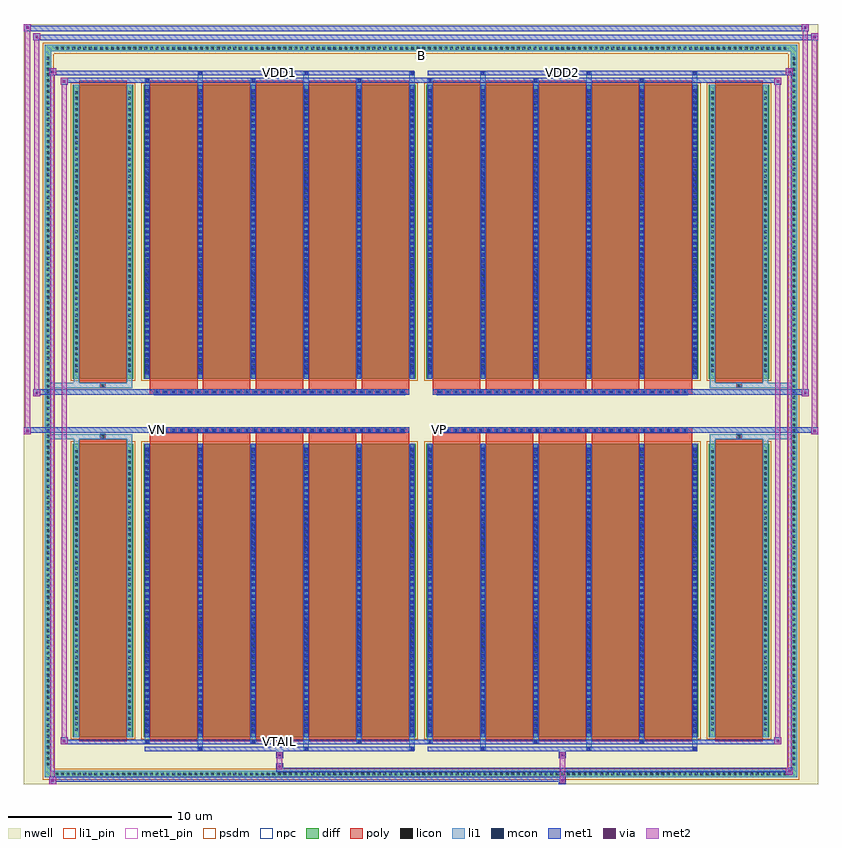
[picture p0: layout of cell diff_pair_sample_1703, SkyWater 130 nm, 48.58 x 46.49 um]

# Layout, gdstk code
import gdstk
lib = gdstk.Library(unit=1e-6, precision=5e-09)
def R(c, l, rs):  # rectangles x0, y0, x1, y1
    for r in rs: c.add(gdstk.rectangle(r[:2], r[2:], *l))
def A(c, l, x, y, w, h, nx, ny, dx, dy):  # array of equal rectangles
    R(c, l, [(x+i*dx, y+j*dy, x+i*dx+w, y+j*dy+h) for i in range(nx) for j in range(ny)])
def P(c, l, *ps):  # polygons
    for p in ps: c.add(gdstk.Polygon(p, *l))
nwell = (64, 20)
diff = (65, 20)
poly = (66, 20)
licon = (66, 44)
li1_pin = (67, 16)
li1 = (67, 20)
mcon = (67, 44)
met1_pin = (68, 16)
met1 = (68, 20)
via = (68, 44)
met2 = (69, 20)
psdm = (94, 20)
npc = (95, 20)

diff_pair_sample_1703 = lib.new_cell('diff_pair_sample_1703')
R(diff_pair_sample_1703, nwell, [(-24.29,-22.81,24.29,23.68), (-21.61,-21,-0.01,-0.8), (0.01,-21,21.61,-0.8), (-21.61,0.8,-0.01,21), (0.01,0.8,21.61,21)])
A(diff_pair_sample_1703, diff, -22.475, -22.41, 0.41, 0.41, 132, 2, 0.34, 44.41)
A(diff_pair_sample_1703, diff, -23.02, -21.795, 0.41, 0.41, 1, 128, 0, 0.34)
A(diff_pair_sample_1703, diff, 22.61, -21.795, 0.41, 0.41, 1, 128, 0, 0.34)
R(diff_pair_sample_1703, diff, [(-22.475,-22.41,22.475,-22), (-23.02,-21.795,-22.61,21.795), (22.61,-21.795,23.02,21.795), (-21.3,-19.955,-17.61,-1.985), (-16.97,-19.955,-0.32,-1.985), (0.32,-19.955,16.97,-1.985), (17.61,-19.955,21.3,-1.985), (-21.3,1.985,-17.61,19.955), (-16.97,1.985,-0.32,19.955), (0.32,1.985,16.97,19.955), (17.61,1.985,21.3,19.955), (-22.475,22,22.475,22.41)])
P(diff_pair_sample_1703, diff, [(23.02,22.41),(-23.02,22.41),(-23.02,-22),(-22.61,-22),(-22.61,22),(22.61,22),(22.61,-22),(-22.61,-22),(-23.02,-22),(-23.02,-22.41),(23.02,-22.41)])
A(diff_pair_sample_1703, poly, -16.58, -20.205, 2.91, 18.47, 5, 2, 3.24, 21.94)
A(diff_pair_sample_1703, poly, 0.71, -20.205, 2.91, 18.47, 5, 2, 3.24, 21.94)
A(diff_pair_sample_1703, poly, -16.58, -1.735, 2.91, 0.405, 5, 2, 3.24, 3.065)
A(diff_pair_sample_1703, poly, 0.71, -1.735, 2.91, 0.405, 5, 2, 3.24, 3.065)
A(diff_pair_sample_1703, poly, -16.31, -1.33, 0.33, 0.33, 31, 2, 0.5, 2.33)
A(diff_pair_sample_1703, poly, 0.98, -1.33, 0.33, 0.33, 31, 2, 0.5, 2.33)
R(diff_pair_sample_1703, poly, [(-20.91,-20.205,-18,-1.735), (18,-20.205,20.91,-1.735), (-19.62,-1.735,-19.29,-1.405), (-19.62,-1.735,-19.29,-1.405), (19.29,-1.735,19.62,-1.405), (19.29,-1.735,19.62,-1.405), (-16.58,-1.33,-0.71,-1), (0.71,-1.33,16.58,-1), (-16.58,1,-0.71,1.33), (0.71,1,16.58,1.33), (-19.62,1.405,-19.29,1.735), (-19.62,1.405,-19.29,1.735), (19.29,1.405,19.62,1.735), (19.29,1.405,19.62,1.735), (-20.91,1.735,-18,20.205), (18,1.735,20.91,20.205)])
A(diff_pair_sample_1703, licon, -22.355, -22.29, 0.17, 0.17, 132, 2, 0.34, 44.41)
A(diff_pair_sample_1703, licon, -22.9, -21.675, 0.17, 0.17, 1, 128, 0, 0.34)
A(diff_pair_sample_1703, licon, 22.73, -21.675, 0.17, 0.17, 1, 128, 0, 0.34)
A(diff_pair_sample_1703, licon, -21.16, -19.555, 0.17, 0.17, 1, 51, 0, 0.34)
A(diff_pair_sample_1703, licon, -17.92, -19.555, 0.17, 0.17, 1, 51, 0, 0.34)
A(diff_pair_sample_1703, licon, -16.83, -19.555, 0.17, 0.17, 6, 51, 3.24, 0.34)
A(diff_pair_sample_1703, licon, 0.46, -19.555, 0.17, 0.17, 6, 51, 3.24, 0.34)
A(diff_pair_sample_1703, licon, 17.75, -19.555, 0.17, 0.17, 1, 51, 0, 0.34)
A(diff_pair_sample_1703, licon, 20.99, -19.555, 0.17, 0.17, 1, 51, 0, 0.34)
A(diff_pair_sample_1703, licon, -16.23, -1.25, 0.17, 0.17, 31, 2, 0.5, 2.33)
A(diff_pair_sample_1703, licon, 1.06, -1.25, 0.17, 0.17, 31, 2, 0.5, 2.33)
A(diff_pair_sample_1703, licon, -21.16, 2.385, 0.17, 0.17, 1, 51, 0, 0.34)
A(diff_pair_sample_1703, licon, -17.92, 2.385, 0.17, 0.17, 1, 51, 0, 0.34)
A(diff_pair_sample_1703, licon, -16.83, 2.385, 0.17, 0.17, 6, 51, 3.24, 0.34)
A(diff_pair_sample_1703, licon, 0.46, 2.385, 0.17, 0.17, 6, 51, 3.24, 0.34)
A(diff_pair_sample_1703, licon, 17.75, 2.385, 0.17, 0.17, 1, 51, 0, 0.34)
A(diff_pair_sample_1703, licon, 20.99, 2.385, 0.17, 0.17, 1, 51, 0, 0.34)
R(diff_pair_sample_1703, licon, [(-19.54,-1.655,-19.37,-1.485), (19.37,-1.655,19.54,-1.485), (-19.54,1.485,-19.37,1.655), (19.37,1.485,19.54,1.655)])
R(diff_pair_sample_1703, li1_pin, [(-0.25,21.5,0.25,22)])
A(diff_pair_sample_1703, li1, -22.435, -22.37, 0.33, 0.33, 132, 2, 0.34, 44.41)
A(diff_pair_sample_1703, li1, -22.98, -21.755, 0.33, 0.33, 1, 128, 0, 0.34)
A(diff_pair_sample_1703, li1, 22.65, -21.755, 0.33, 0.33, 1, 128, 0, 0.34)
A(diff_pair_sample_1703, li1, -13.67, -20.76, 0.33, 0.805, 3, 2, 6.48, 40.715)
A(diff_pair_sample_1703, li1, -13.59, -20.76, 0.17, 0.17, 3, 2, 6.48, 41.35)
A(diff_pair_sample_1703, li1, 3.62, -20.76, 0.33, 0.805, 3, 2, 6.48, 40.715)
A(diff_pair_sample_1703, li1, 3.7, -20.76, 0.17, 0.17, 3, 2, 6.48, 41.35)
A(diff_pair_sample_1703, li1, -16.91, -20.33, 0.33, 0.375, 3, 2, 6.48, 40.285)
A(diff_pair_sample_1703, li1, -16.83, -20.33, 0.17, 0.17, 3, 2, 6.48, 40.49)
A(diff_pair_sample_1703, li1, 0.38, -20.33, 0.33, 0.375, 3, 2, 6.48, 40.285)
A(diff_pair_sample_1703, li1, 0.46, -20.33, 0.17, 0.17, 3, 2, 6.48, 40.49)
A(diff_pair_sample_1703, li1, -16.91, -19.955, 0.33, 17.97, 6, 2, 3.24, 21.94)
A(diff_pair_sample_1703, li1, 0.38, -19.955, 0.33, 17.97, 6, 2, 3.24, 21.94)
A(diff_pair_sample_1703, li1, -16.83, -19.695, 0.17, 0.17, 6, 49, 3.24, 0.36)
A(diff_pair_sample_1703, li1, -16.83, -19.695, 0.17, 17.45, 6, 2, 3.24, 21.94)
A(diff_pair_sample_1703, li1, 0.46, -19.695, 0.17, 0.17, 6, 49, 3.24, 0.36)
A(diff_pair_sample_1703, li1, 0.46, -19.695, 0.17, 17.45, 6, 2, 3.24, 21.94)
A(diff_pair_sample_1703, li1, -21.24, -19.635, 0.33, 0.33, 1, 51, 0, 0.34)
A(diff_pair_sample_1703, li1, -18, -19.635, 0.33, 0.33, 1, 51, 0, 0.34)
A(diff_pair_sample_1703, li1, -16.91, -19.635, 0.33, 0.33, 6, 51, 3.24, 0.34)
A(diff_pair_sample_1703, li1, 0.38, -19.635, 0.33, 0.33, 6, 51, 3.24, 0.34)
A(diff_pair_sample_1703, li1, 17.67, -19.635, 0.33, 0.33, 1, 51, 0, 0.34)
A(diff_pair_sample_1703, li1, 20.91, -19.635, 0.33, 0.33, 1, 51, 0, 0.34)
A(diff_pair_sample_1703, li1, -16.31, -1.33, 0.33, 0.33, 31, 2, 0.5, 2.33)
A(diff_pair_sample_1703, li1, 0.98, -1.33, 0.33, 0.33, 31, 2, 0.5, 2.33)
A(diff_pair_sample_1703, li1, -16.83, 2.245, 0.17, 0.17, 6, 49, 3.24, 0.36)
A(diff_pair_sample_1703, li1, 0.46, 2.245, 0.17, 0.17, 6, 49, 3.24, 0.36)
A(diff_pair_sample_1703, li1, -21.24, 2.305, 0.33, 0.33, 1, 51, 0, 0.34)
A(diff_pair_sample_1703, li1, -18, 2.305, 0.33, 0.33, 1, 51, 0, 0.34)
A(diff_pair_sample_1703, li1, -16.91, 2.305, 0.33, 0.33, 6, 51, 3.24, 0.34)
A(diff_pair_sample_1703, li1, 0.38, 2.305, 0.33, 0.33, 6, 51, 3.24, 0.34)
A(diff_pair_sample_1703, li1, 17.67, 2.305, 0.33, 0.33, 1, 51, 0, 0.34)
A(diff_pair_sample_1703, li1, 20.91, 2.305, 0.33, 0.33, 1, 51, 0, 0.34)
R(diff_pair_sample_1703, li1, [(-23.02,-22.41,-22.61,-22), (-23.02,-22.41,-22.61,-22), (-22.61,-22.41,22.61,-22), (22.61,-22.41,23.02,-22), (22.61,-22.41,23.02,-22), (-23.02,-22,-22.61,22), (22.61,-22,23.02,22), (-21.24,-19.955,-20.91,-1.985), (-18,-19.955,-17.67,-1.985), (17.67,-19.955,18,-1.985), (20.91,-19.955,21.24,-1.985), (-21.24,-1.985,-20.91,-1.405), (-18,-1.985,-17.67,-1.405), (17.67,-1.985,18,-1.405), (20.91,-1.985,21.24,-1.405), (-23.02,-1.735,-19.62,-1.405), (-21.24,-1.735,-19.62,-1.405), (-19.62,-1.735,-19.29,-1.405), (-19.29,-1.735,-17.67,-1.405), (17.67,-1.735,19.29,-1.405), (19.29,-1.735,19.62,-1.405), (19.29,-1.735,23.02,-1.405), (19.62,-1.735,21.24,-1.405), (-23.02,1.405,-19.62,1.735), (-21.24,1.405,-19.62,1.735), (-21.24,1.405,-20.91,1.985), (-19.62,1.405,-19.29,1.735), (-19.29,1.405,-17.67,1.735), (-18,1.405,-17.67,1.985), (17.67,1.405,19.29,1.735), (17.67,1.405,18,1.985), (19.29,1.405,19.62,1.735), (19.29,1.405,23.02,1.735), (19.62,1.405,21.24,1.735), (20.91,1.405,21.24,1.985), (-21.24,1.985,-20.91,19.955), (-18,1.985,-17.67,19.955), (17.67,1.985,18,19.955), (20.91,1.985,21.24,19.955), (-23.02,22,-22.61,22.41), (-23.02,22,-22.61,22.41), (-22.61,22,22.61,22.41), (22.61,22,23.02,22.41), (22.61,22,23.02,22.41)])
A(diff_pair_sample_1703, mcon, -13.59, -20.76, 0.17, 0.17, 3, 2, 6.48, 41.35)
A(diff_pair_sample_1703, mcon, 3.7, -20.76, 0.17, 0.17, 3, 2, 6.48, 41.35)
A(diff_pair_sample_1703, mcon, -16.83, -20.33, 0.17, 0.17, 3, 2, 6.48, 40.49)
A(diff_pair_sample_1703, mcon, 0.46, -20.33, 0.17, 0.17, 3, 2, 6.48, 40.49)
A(diff_pair_sample_1703, mcon, -16.83, -19.695, 0.17, 0.17, 6, 49, 3.24, 0.36)
A(diff_pair_sample_1703, mcon, 0.46, -19.695, 0.17, 0.17, 6, 49, 3.24, 0.36)
A(diff_pair_sample_1703, mcon, -16.23, -1.25, 0.17, 0.17, 31, 2, 0.5, 2.33)
A(diff_pair_sample_1703, mcon, 1.06, -1.25, 0.17, 0.17, 31, 2, 0.5, 2.33)
A(diff_pair_sample_1703, mcon, -16.83, 2.245, 0.17, 0.17, 6, 49, 3.24, 0.36)
A(diff_pair_sample_1703, mcon, 0.46, 2.245, 0.17, 0.17, 6, 49, 3.24, 0.36)
R(diff_pair_sample_1703, met1_pin, [(-8.78,-20.37,-8.51,-20.1), (-16.28,-1.29,-16.01,-1.02), (1.01,-1.29,1.28,-1.02), (-8.78,20.55,-8.51,20.82), (8.51,20.55,8.78,20.82)])
A(diff_pair_sample_1703, met1, -13.65, -20.82, 0.29, 0.29, 3, 2, 6.48, 41.35)
A(diff_pair_sample_1703, met1, 3.64, -20.82, 0.29, 0.29, 3, 2, 6.48, 41.35)
A(diff_pair_sample_1703, met1, -16.89, -20.39, 0.29, 0.29, 3, 2, 6.48, 40.49)
A(diff_pair_sample_1703, met1, 0.4, -20.39, 0.29, 0.29, 3, 2, 6.48, 40.49)
A(diff_pair_sample_1703, met1, -16.89, -19.955, 0.29, 17.97, 6, 2, 3.24, 21.94)
A(diff_pair_sample_1703, met1, 0.4, -19.955, 0.29, 17.97, 6, 2, 3.24, 21.94)
A(diff_pair_sample_1703, met1, -16.89, -19.755, 0.29, 0.29, 6, 49, 3.24, 0.36)
A(diff_pair_sample_1703, met1, 0.4, -19.755, 0.29, 0.29, 6, 49, 3.24, 0.36)
A(diff_pair_sample_1703, met1, -16.29, -1.31, 0.29, 0.29, 31, 2, 0.5, 2.33)
A(diff_pair_sample_1703, met1, 1, -1.31, 0.29, 0.29, 31, 2, 0.5, 2.33)
A(diff_pair_sample_1703, met1, -16.89, 2.185, 0.29, 0.29, 6, 49, 3.24, 0.36)
A(diff_pair_sample_1703, met1, 0.4, 2.185, 0.29, 0.29, 6, 49, 3.24, 0.36)
R(diff_pair_sample_1703, met1, [(-22.75,-22.81,-22.32,-22.38), (8.43,-22.81,8.86,-22.38), (-22.75,-22.67,8.86,-22.38), (22.32,-22.24,22.75,-21.81), (-8.86,-22.1,22.75,-21.81), (-8.86,-21.96,-8.43,-21.53), (-8.86,-21.25,-8.43,-20.82), (8.43,-21.25,8.86,-20.82), (-16.89,-20.82,-0.4,-20.53), (0.4,-20.82,16.89,-20.53), (-22.04,-20.39,-21.61,-19.96), (-22.04,-20.39,-16.89,-20.1), (-16.89,-20.39,-0.4,-20.1), (-0.4,-20.39,0.4,-20.1), (0.4,-20.39,16.89,-20.1), (16.89,-20.39,22.04,-20.1), (21.61,-20.39,22.04,-19.96), (-24.29,-1.43,-23.86,-1), (23.86,-1.43,24.29,-1), (-24.29,-1.33,-0.71,-1), (-16.58,-1.33,-0.71,-1), (0.71,-1.33,16.58,-1), (0.71,-1.33,24.29,-1), (-23.72,0.9,-23.29,1.33), (23.29,0.9,23.72,1.33), (-23.72,1,-16.58,1.33), (-16.58,1,-0.71,1.33), (0.71,1,16.58,1.33), (16.58,1,23.72,1.33), (-22.04,19.96,-21.61,20.39), (21.61,19.96,22.04,20.39), (-22.04,20.1,-16.89,20.39), (-16.89,20.1,-0.4,20.39), (-0.4,20.1,0.4,20.39), (0.4,20.1,16.89,20.39), (16.89,20.1,22.04,20.39), (-22.75,20.53,-22.32,20.96), (-22.75,20.53,-16.89,20.82), (-16.89,20.53,-0.4,20.82), (0.4,20.53,16.89,20.82), (16.89,20.53,22.75,20.82), (22.32,20.53,22.75,20.96), (-23.72,22.68,-23.29,23.11), (-23.72,22.68,-21.61,23.01), (-21.61,22.68,21.61,23.01), (21.61,22.68,24.29,23.01), (23.86,22.68,24.29,23.11), (-24.29,23.25,-23.86,23.68), (-24.29,23.25,-21.61,23.58), (-21.61,23.25,21.61,23.58), (21.61,23.25,23.72,23.58), (23.29,23.25,23.72,23.68)])
R(diff_pair_sample_1703, via, [(-22.61,-22.67,-22.46,-22.52), (8.57,-22.67,8.72,-22.52), (22.46,-22.1,22.61,-21.95), (-8.72,-21.82,-8.57,-21.67), (-8.72,-21.11,-8.57,-20.96), (8.57,-21.11,8.72,-20.96), (-21.9,-20.25,-21.75,-20.1), (21.75,-20.25,21.9,-20.1), (-24.15,-1.29,-24,-1.14), (24,-1.29,24.15,-1.14), (-23.58,1.04,-23.43,1.19), (23.43,1.04,23.58,1.19), (-21.9,20.1,-21.75,20.25), (21.75,20.1,21.9,20.25), (-22.61,20.67,-22.46,20.82), (22.46,20.67,22.61,20.82), (-23.58,22.82,-23.43,22.97), (24,22.82,24.15,22.97), (-24.15,23.39,-24,23.54), (23.43,23.39,23.58,23.54)])
R(diff_pair_sample_1703, met2, [(-22.75,-22.81,-22.32,-22.38), (-22.68,-22.81,-22.39,20.96), (-22.39,-22.81,-22.32,-22.38), (-22.7,-22.76,-22.37,-22.43), (8.48,-22.76,8.81,-22.43), (8.48,-22.43,8.81,-21.2), (22.32,-22.24,22.75,-21.81), (22.39,-22.24,22.68,20.96), (22.68,-22.24,22.75,-21.81), (22.37,-22.19,22.7,-21.86), (-8.81,-21.91,-8.48,-21.58), (-8.81,-21.58,-8.48,-21.2), (-8.81,-21.2,-8.48,-20.87), (8.48,-21.2,8.81,-20.87), (-22.04,-20.39,-21.61,-19.96), (-21.97,-20.39,-21.68,20.39), (-21.68,-20.39,-21.61,-19.96), (21.61,-20.39,22.04,-19.96), (21.68,-20.39,21.97,20.39), (21.97,-20.39,22.04,-19.96), (-21.99,-20.34,-21.66,-20.01), (21.66,-20.34,21.99,-20.01), (-24.29,-1.43,-23.86,-1), (-24.24,-1.43,-23.91,23.68), (-23.91,-1.43,-23.86,-1), (23.86,-1.43,24.29,-1), (23.91,-1.43,24.24,23.11), (24.24,-1.43,24.29,-1), (-24.24,-1.38,-23.91,-1.05), (23.91,-1.38,24.24,-1.05), (-23.72,0.9,-23.29,1.33), (-23.67,0.9,-23.34,23.11), (-23.34,0.9,-23.29,1.33), (23.29,0.9,23.72,1.33), (23.34,0.9,23.67,23.68), (23.67,0.9,23.72,1.33), (-23.67,0.95,-23.34,1.28), (23.34,0.95,23.67,1.28), (-22.04,19.96,-21.61,20.39), (-21.68,19.96,-21.61,20.39), (21.61,19.96,22.04,20.39), (21.97,19.96,22.04,20.39), (-21.99,20.01,-21.66,20.34), (21.66,20.01,21.99,20.34), (-22.75,20.53,-22.32,20.96), (-22.39,20.53,-22.32,20.96), (22.32,20.53,22.75,20.96), (22.68,20.53,22.75,20.96), (-22.7,20.58,-22.37,20.91), (22.37,20.58,22.7,20.91), (-23.72,22.68,-23.29,23.11), (-23.34,22.68,-23.29,23.11), (23.86,22.68,24.29,23.11), (24.24,22.68,24.29,23.11), (-23.67,22.73,-23.34,23.06), (23.91,22.73,24.24,23.06), (-24.29,23.25,-23.86,23.68), (-23.91,23.25,-23.86,23.68), (23.29,23.25,23.72,23.68), (23.67,23.25,23.72,23.68), (-24.24,23.3,-23.91,23.63), (23.34,23.3,23.67,23.63)])
R(diff_pair_sample_1703, psdm, [(-21.43,-20.085,-17.48,-1.855), (-17.1,-20.085,-0.19,-1.855), (0.19,-20.085,17.1,-1.855), (17.48,-20.085,21.43,-1.855), (-21.43,1.855,-17.48,20.085), (-17.1,1.855,-0.19,20.085), (0.19,1.855,17.1,20.085), (17.48,1.855,21.43,20.085)])
P(diff_pair_sample_1703, psdm, [(23.15,22.54),(-23.15,22.54),(-23.15,-21.87),(-22.48,-21.87),(-22.48,21.87),(22.48,21.87),(22.48,-21.87),(-22.48,-21.87),(-23.15,-21.87),(-23.15,-22.54),(23.15,-22.54)])
A(diff_pair_sample_1703, npc, -16.33, -1.35, 0.37, 0.37, 31, 2, 0.5, 2.33)
A(diff_pair_sample_1703, npc, 0.96, -1.35, 0.37, 0.37, 31, 2, 0.5, 2.33)
R(diff_pair_sample_1703, npc, [(-19.64,-1.755,-19.27,-1.385), (19.27,-1.755,19.64,-1.385), (-16.33,-1.35,-15.46,-0.98), (-16.33,-1.35,-15.46,-0.98), (-15.83,-1.35,-14.96,-0.98), (-15.83,-1.35,-14.96,-0.98), (-15.33,-1.35,-14.46,-0.98), (-15.33,-1.35,-14.46,-0.98), (-14.83,-1.35,-13.96,-0.98), (-14.83,-1.35,-13.96,-0.98), (-14.33,-1.35,-13.46,-0.98), (-14.33,-1.35,-13.46,-0.98), (-13.83,-1.35,-12.96,-0.98), (-13.83,-1.35,-12.96,-0.98), (-13.33,-1.35,-12.46,-0.98), (-13.33,-1.35,-12.46,-0.98), (-12.83,-1.35,-11.96,-0.98), (-12.83,-1.35,-11.96,-0.98), (-12.33,-1.35,-11.46,-0.98), (-12.33,-1.35,-11.46,-0.98), (-11.83,-1.35,-10.96,-0.98), (-11.83,-1.35,-10.96,-0.98), (-11.33,-1.35,-10.46,-0.98), (-11.33,-1.35,-10.46,-0.98), (-10.83,-1.35,-9.96,-0.98), (-10.83,-1.35,-9.96,-0.98), (-10.33,-1.35,-9.46,-0.98), (-10.33,-1.35,-9.46,-0.98), (-9.83,-1.35,-8.96,-0.98), (-9.83,-1.35,-8.96,-0.98), (-9.33,-1.35,-8.46,-0.98), (-9.33,-1.35,-8.46,-0.98), (-8.83,-1.35,-7.96,-0.98), (-8.83,-1.35,-7.96,-0.98), (-8.33,-1.35,-7.46,-0.98), (-8.33,-1.35,-7.46,-0.98), (-7.83,-1.35,-6.96,-0.98), (-7.83,-1.35,-6.96,-0.98), (-7.33,-1.35,-6.46,-0.98), (-7.33,-1.35,-6.46,-0.98), (-6.83,-1.35,-5.96,-0.98), (-6.83,-1.35,-5.96,-0.98), (-6.33,-1.35,-5.46,-0.98), (-6.33,-1.35,-5.46,-0.98), (-5.83,-1.35,-4.96,-0.98), (-5.83,-1.35,-4.96,-0.98), (-5.33,-1.35,-4.46,-0.98), (-5.33,-1.35,-4.46,-0.98), (-4.83,-1.35,-3.96,-0.98), (-4.83,-1.35,-3.96,-0.98), (-4.33,-1.35,-3.46,-0.98), (-4.33,-1.35,-3.46,-0.98), (-3.83,-1.35,-2.96,-0.98), (-3.83,-1.35,-2.96,-0.98), (-3.33,-1.35,-2.46,-0.98), (-3.33,-1.35,-2.46,-0.98), (-2.83,-1.35,-1.96,-0.98), (-2.83,-1.35,-1.96,-0.98), (-2.33,-1.35,-1.46,-0.98), (-2.33,-1.35,-1.46,-0.98), (-1.83,-1.35,-0.96,-0.98), (-1.83,-1.35,-0.96,-0.98), (0.96,-1.35,1.83,-0.98), (0.96,-1.35,1.83,-0.98), (1.46,-1.35,2.33,-0.98), (1.46,-1.35,2.33,-0.98), (1.96,-1.35,2.83,-0.98), (1.96,-1.35,2.83,-0.98), (2.46,-1.35,3.33,-0.98), (2.46,-1.35,3.33,-0.98), (2.96,-1.35,3.83,-0.98), (2.96,-1.35,3.83,-0.98), (3.46,-1.35,4.33,-0.98), (3.46,-1.35,4.33,-0.98), (3.96,-1.35,4.83,-0.98), (3.96,-1.35,4.83,-0.98), (4.46,-1.35,5.33,-0.98), (4.46,-1.35,5.33,-0.98), (4.96,-1.35,5.83,-0.98), (4.96,-1.35,5.83,-0.98), (5.46,-1.35,6.33,-0.98), (5.46,-1.35,6.33,-0.98), (5.96,-1.35,6.83,-0.98), (5.96,-1.35,6.83,-0.98), (6.46,-1.35,7.33,-0.98), (6.46,-1.35,7.33,-0.98), (6.96,-1.35,7.83,-0.98), (6.96,-1.35,7.83,-0.98), (7.46,-1.35,8.33,-0.98), (7.46,-1.35,8.33,-0.98), (7.96,-1.35,8.83,-0.98), (7.96,-1.35,8.83,-0.98), (8.46,-1.35,9.33,-0.98), (8.46,-1.35,9.33,-0.98), (8.96,-1.35,9.83,-0.98), (8.96,-1.35,9.83,-0.98), (9.46,-1.35,10.33,-0.98), (9.46,-1.35,10.33,-0.98), (9.96,-1.35,10.83,-0.98), (9.96,-1.35,10.83,-0.98), (10.46,-1.35,11.33,-0.98), (10.46,-1.35,11.33,-0.98), (10.96,-1.35,11.83,-0.98), (10.96,-1.35,11.83,-0.98), (11.46,-1.35,12.33,-0.98), (11.46,-1.35,12.33,-0.98), (11.96,-1.35,12.83,-0.98), (11.96,-1.35,12.83,-0.98), (12.46,-1.35,13.33,-0.98), (12.46,-1.35,13.33,-0.98), (12.96,-1.35,13.83,-0.98), (12.96,-1.35,13.83,-0.98), (13.46,-1.35,14.33,-0.98), (13.46,-1.35,14.33,-0.98), (13.96,-1.35,14.83,-0.98), (13.96,-1.35,14.83,-0.98), (14.46,-1.35,15.33,-0.98), (14.46,-1.35,15.33,-0.98), (14.96,-1.35,15.83,-0.98), (14.96,-1.35,15.83,-0.98), (15.46,-1.35,16.33,-0.98), (15.46,-1.35,16.33,-0.98), (-16.33,0.98,-15.46,1.35), (-16.33,0.98,-15.46,1.35), (-15.83,0.98,-14.96,1.35), (-15.83,0.98,-14.96,1.35), (-15.33,0.98,-14.46,1.35), (-15.33,0.98,-14.46,1.35), (-14.83,0.98,-13.96,1.35), (-14.83,0.98,-13.96,1.35), (-14.33,0.98,-13.46,1.35), (-14.33,0.98,-13.46,1.35), (-13.83,0.98,-12.96,1.35), (-13.83,0.98,-12.96,1.35), (-13.33,0.98,-12.46,1.35), (-13.33,0.98,-12.46,1.35), (-12.83,0.98,-11.96,1.35), (-12.83,0.98,-11.96,1.35), (-12.33,0.98,-11.46,1.35), (-12.33,0.98,-11.46,1.35), (-11.83,0.98,-10.96,1.35), (-11.83,0.98,-10.96,1.35), (-11.33,0.98,-10.46,1.35), (-11.33,0.98,-10.46,1.35), (-10.83,0.98,-9.96,1.35), (-10.83,0.98,-9.96,1.35), (-10.33,0.98,-9.46,1.35), (-10.33,0.98,-9.46,1.35), (-9.83,0.98,-8.96,1.35), (-9.83,0.98,-8.96,1.35), (-9.33,0.98,-8.46,1.35), (-9.33,0.98,-8.46,1.35), (-8.83,0.98,-7.96,1.35), (-8.83,0.98,-7.96,1.35), (-8.33,0.98,-7.46,1.35), (-8.33,0.98,-7.46,1.35), (-7.83,0.98,-6.96,1.35), (-7.83,0.98,-6.96,1.35), (-7.33,0.98,-6.46,1.35), (-7.33,0.98,-6.46,1.35), (-6.83,0.98,-5.96,1.35), (-6.83,0.98,-5.96,1.35), (-6.33,0.98,-5.46,1.35), (-6.33,0.98,-5.46,1.35), (-5.83,0.98,-4.96,1.35), (-5.83,0.98,-4.96,1.35), (-5.33,0.98,-4.46,1.35), (-5.33,0.98,-4.46,1.35), (-4.83,0.98,-3.96,1.35), (-4.83,0.98,-3.96,1.35), (-4.33,0.98,-3.46,1.35), (-4.33,0.98,-3.46,1.35), (-3.83,0.98,-2.96,1.35), (-3.83,0.98,-2.96,1.35), (-3.33,0.98,-2.46,1.35), (-3.33,0.98,-2.46,1.35), (-2.83,0.98,-1.96,1.35), (-2.83,0.98,-1.96,1.35), (-2.33,0.98,-1.46,1.35), (-2.33,0.98,-1.46,1.35), (-1.83,0.98,-0.96,1.35), (-1.83,0.98,-0.96,1.35), (0.96,0.98,1.83,1.35), (0.96,0.98,1.83,1.35), (1.46,0.98,2.33,1.35), (1.46,0.98,2.33,1.35), (1.96,0.98,2.83,1.35), (1.96,0.98,2.83,1.35), (2.46,0.98,3.33,1.35), (2.46,0.98,3.33,1.35), (2.96,0.98,3.83,1.35), (2.96,0.98,3.83,1.35), (3.46,0.98,4.33,1.35), (3.46,0.98,4.33,1.35), (3.96,0.98,4.83,1.35), (3.96,0.98,4.83,1.35), (4.46,0.98,5.33,1.35), (4.46,0.98,5.33,1.35), (4.96,0.98,5.83,1.35), (4.96,0.98,5.83,1.35), (5.46,0.98,6.33,1.35), (5.46,0.98,6.33,1.35), (5.96,0.98,6.83,1.35), (5.96,0.98,6.83,1.35), (6.46,0.98,7.33,1.35), (6.46,0.98,7.33,1.35), (6.96,0.98,7.83,1.35), (6.96,0.98,7.83,1.35), (7.46,0.98,8.33,1.35), (7.46,0.98,8.33,1.35), (7.96,0.98,8.83,1.35), (7.96,0.98,8.83,1.35), (8.46,0.98,9.33,1.35), (8.46,0.98,9.33,1.35), (8.96,0.98,9.83,1.35), (8.96,0.98,9.83,1.35), (9.46,0.98,10.33,1.35), (9.46,0.98,10.33,1.35), (9.96,0.98,10.83,1.35), (9.96,0.98,10.83,1.35), (10.46,0.98,11.33,1.35), (10.46,0.98,11.33,1.35), (10.96,0.98,11.83,1.35), (10.96,0.98,11.83,1.35), (11.46,0.98,12.33,1.35), (11.46,0.98,12.33,1.35), (11.96,0.98,12.83,1.35), (11.96,0.98,12.83,1.35), (12.46,0.98,13.33,1.35), (12.46,0.98,13.33,1.35), (12.96,0.98,13.83,1.35), (12.96,0.98,13.83,1.35), (13.46,0.98,14.33,1.35), (13.46,0.98,14.33,1.35), (13.96,0.98,14.83,1.35), (13.96,0.98,14.83,1.35), (14.46,0.98,15.33,1.35), (14.46,0.98,15.33,1.35), (14.96,0.98,15.83,1.35), (14.96,0.98,15.83,1.35), (15.46,0.98,16.33,1.35), (15.46,0.98,16.33,1.35), (-19.64,1.385,-19.27,1.755), (19.27,1.385,19.64,1.755)])
diff_pair_sample_1703.add(gdstk.Label('VTAIL', (-8.645,-20.235), layer=68, texttype=5))
diff_pair_sample_1703.add(gdstk.Label('VN', (-16.145,-1.155), layer=68, texttype=5))
diff_pair_sample_1703.add(gdstk.Label('VP', (1.145,-1.155), layer=68, texttype=5))
diff_pair_sample_1703.add(gdstk.Label('B', (0,21.75), layer=67, texttype=5))
diff_pair_sample_1703.add(gdstk.Label('VDD2', (8.645,20.685), layer=68, texttype=5))
diff_pair_sample_1703.add(gdstk.Label('VDD1', (-8.645,20.685), layer=68, texttype=5))

lib.write_gds('diff_pair_sample_1703.gds')
